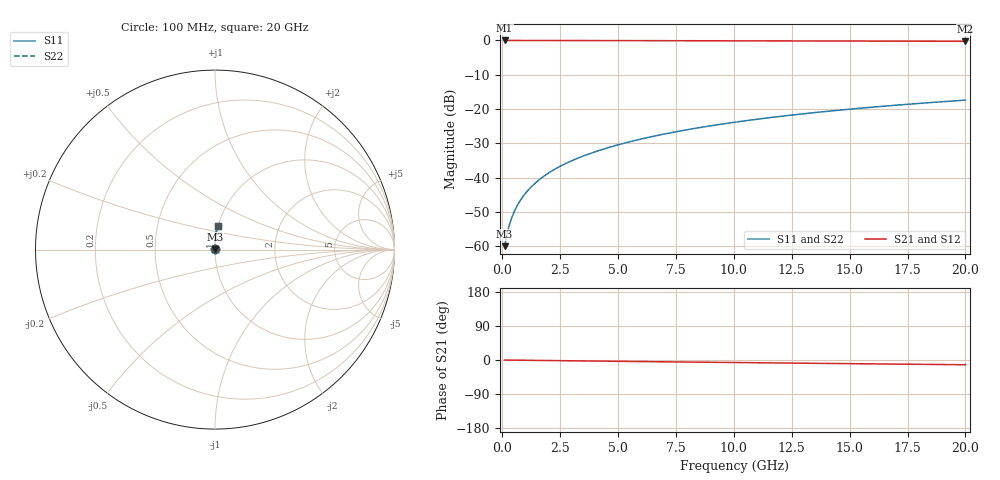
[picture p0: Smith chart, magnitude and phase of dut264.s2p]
! Touchstone file exported from HFSS 2024.1.0
!  File:  C:/UserFiles/LocalFiles/RDL_TSV_Batchsim/temp_RDL_bottom_264_1778702290.aedt
!  Generated:  04:00:21 AM May 14, 2026
!  Design:  RDL_bottom
!  Project:  temp_RDL_bottom_264_1778702290
!  Setup:  Setup1
!  Solution:  Sweep
! Variables:
!  dtsv = 10.80580581um
!  hbump = 3um
!  htsv = 73.89um
!  ldown = 156.04um
!  lrdl = 100um
!  p = 40
!  p1 = 46.85um
!  rhole = 1um
!  t = 450um
!  tdown = 4.17um
!  trdl = 3.915915916um
!  wdown = 22.41um
!  wrdl = 20um
# GHz S MA R 50.000000
! Terminal data exported
! Port[1] = RDL1_T1
! Port[2] = RDL1_T2
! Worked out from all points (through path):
!   200 points, 100 MHz to 20 GHz, reference 50 ohm
!   highest |S21| = -0.01 dB at 100 MHz (marker M1); lowest = -0.3 dB at 20 GHz (marker M2)
!   group delay of S21, straight-line fit = 1.72 ps
!   lowest |S11| = -59.9 dB at 100 MHz (marker M3), VSWR 1.00, Z = 50.1 + j0.0643 ohm
!   |S11| at or under -10 dB: start of sweep to end of sweep
!   |S22| runs from -59.9 to -17.4 dB; largest |S21 - S12| = 3.4e-15
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0.1  0.00101 39.5  0.9992 -0.1  0.9992 -0.1  0.00101 39.5
! Gamma 0 0 0 0
! Port Impedance 50 0 50 0
0.2  0.001499 56.8  0.9992 -0.2  0.9992 -0.2  0.001499 56.8
0.3  0.002032 65.1  0.9991 -0.2  0.9991 -0.2  0.002032 65.1
0.4  0.002574 70.0  0.9991 -0.3  0.9991 -0.3  0.002574 70.0
0.5  0.003124 73.4  0.999 -0.4  0.999 -0.4  0.003124 73.4
0.6  0.003679 75.8  0.999 -0.4  0.999 -0.4  0.003679 75.8
0.8  0.004803 79.2  0.9989 -0.6  0.9989 -0.6  0.004803 79.2
1.1  0.006515 82.3  0.9988 -0.8  0.9988 -0.8  0.006515 82.3
1.5  0.008828 84.6  0.9985 -1.1  0.9985 -1.1  0.008828 84.6
1.8  0.01058 85.8  0.9983 -1.3  0.9983 -1.3  0.01058 85.8
2.1  0.01235 86.7  0.9981 -1.5  0.9981 -1.5  0.01235 86.7
2.7  0.01592 87.9  0.9975 -1.9  0.9975 -1.9  0.01592 87.9
3.5  0.02078 88.9  0.9965 -2.5  0.9965 -2.5  0.02078 88.9
4.2  0.02512 89.5  0.9955 -3.0  0.9955 -3.0  0.02512 89.5
5  0.0302 89.9  0.9943 -3.5  0.9943 -3.5  0.0302 89.9
5.9  0.03605 90.2  0.9929 -4.1  0.9929 -4.1  0.03605 90.2
6.8  0.04204 90.2  0.9914 -4.7  0.9914 -4.7  0.04204 90.2
8.4  0.05297 89.8  0.9888 -5.7  0.9888 -5.7  0.05297 89.8
10.1  0.06487 89.1  0.986 -6.7  0.986 -6.7  0.06487 89.1
13.4  0.08836 87.1  0.981 -8.7  0.981 -8.7  0.08836 87.1
16.7  0.1119 84.8  0.9761 -10.6  0.9761 -10.6  0.1119 84.8
20  0.1352 82.5  0.9714 -12.5  0.9714 -12.5  0.1352 82.5
